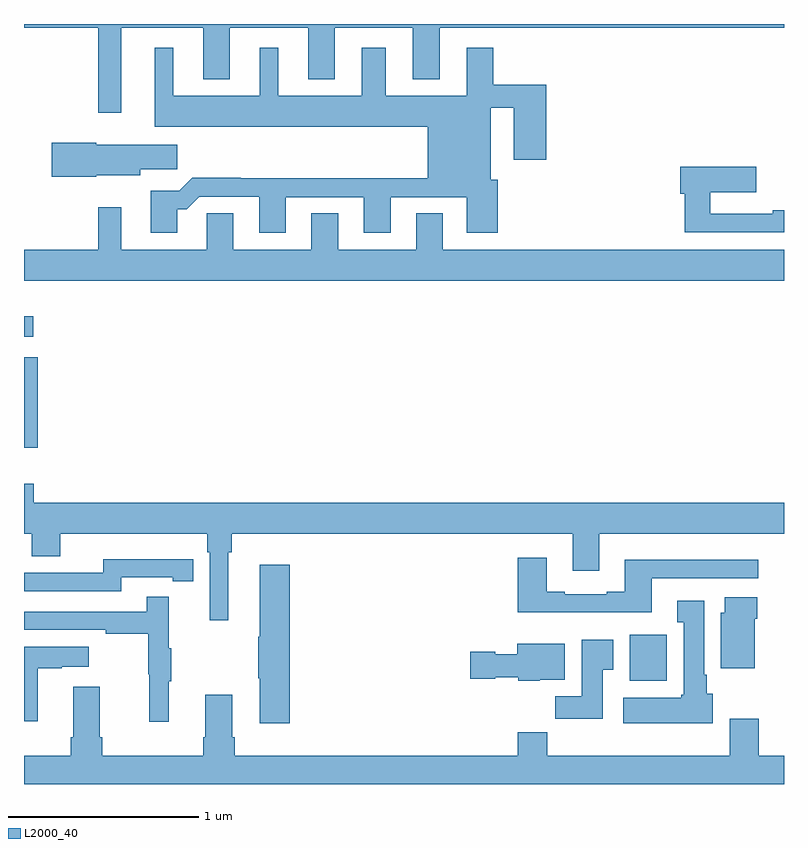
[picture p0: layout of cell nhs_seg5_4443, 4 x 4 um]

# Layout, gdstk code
import gdstk
lib = gdstk.Library(unit=1e-6, precision=1e-09)
def R(c, l, rs):  # rectangles x0, y0, x1, y1
    for r in rs: c.add(gdstk.rectangle(r[:2], r[2:], *l))
def P(c, l, *ps):  # polygons
    for p in ps: c.add(gdstk.Polygon(p, *l))
L2000_40 = (2000, 40)

nhs_seg5_4443 = lib.new_cell('nhs_seg5_4443')
R(nhs_seg5_4443, L2000_40, [(376.187,833.342,376.384,833.584), (373,834.57,373.072,835.045), (373,835.154,373.048,835.262)])
P(nhs_seg5_4443, L2000_40, [(373.513,836.78),(373.943,836.78),(373.943,836.507),(374.083,836.507),(374.083,836.78),(374.495,836.78),(374.495,836.507),(374.635,836.507),(374.635,836.78),(375.047,836.78),(375.047,836.507),(375.187,836.507),(375.187,836.78),(377,836.78),(377,836.799),(373,836.799),(373,836.78),(373.392,836.78),(373.392,836.331),(373.513,836.331)],
  [(373.807,835.823),(373.856,835.823),(373.923,835.89),(374.237,835.89),(374.237,835.701),(374.377,835.701),(374.377,835.887),(374.789,835.887),(374.789,835.701),(374.929,835.701),(374.929,835.887),(375.329,835.887),(375.329,835.701),(375.494,835.701),(375.494,835.98),(375.457,835.98),(375.457,836.358),(375.578,836.358),(375.578,836.085),(375.749,836.085),(375.749,836.479),(375.47,836.479),(375.47,836.674),(375.329,836.674),(375.329,836.422),(374.905,836.422),(374.905,836.674),(374.777,836.674),(374.777,836.422),(374.338,836.422),(374.338,836.674),(374.24,836.674),(374.24,836.422),(373.786,836.422),(373.786,836.674),(373.688,836.674),(373.688,836.258),(375.125,836.258),(375.125,835.988),(374.141,835.988),(374.141,835.991),(373.886,835.991),(373.816,835.921),(373.667,835.921),(373.667,835.701),(373.807,835.701)],
  [(373.38,836.003),(373.612,836.003),(373.612,836.035),(373.807,836.035),(373.807,836.164),(373.38,836.164),(373.38,836.174),(373.146,836.174),(373.146,835.996),(373.38,835.996)],
  [(377,835.82),(376.942,835.82),(376.942,835.8),(376.613,835.8),(376.613,835.913),(376.855,835.913),(376.855,836.048),(376.454,836.048),(376.454,835.906),(376.477,835.906),(376.477,835.704),(377,835.704)],
  [(377,835.612),(375.205,835.612),(375.205,835.802),(375.065,835.802),(375.065,835.612),(374.653,835.612),(374.653,835.802),(374.513,835.802),(374.513,835.612),(374.101,835.612),(374.101,835.802),(373.962,835.802),(373.962,835.612),(373.513,835.612),(373.513,835.834),(373.392,835.834),(373.392,835.612),(373,835.612),(373,835.448),(377,835.448)],
  [(374.074,834.02),(374.093,834.02),(374.093,834.116),(375.887,834.116),(375.887,833.922),(376.027,833.922),(376.027,834.116),(377,834.116),(377,834.28),(373.052,834.28),(373.052,834.379),(373,834.379),(373,834.116),(373.04,834.116),(373.04,833.999),(373.192,833.999),(373.192,834.116),(373.964,834.116),(373.964,834.02),(373.977,834.02),(373.977,833.661),(374.074,833.661)],
  [(376.303,833.883),(376.864,833.883),(376.864,833.98),(376.163,833.98),(376.163,833.812),(376.067,833.812),(376.067,833.799),(375.847,833.799),(375.847,833.812),(375.751,833.812),(375.751,833.989),(375.599,833.989),(375.599,833.702),(376.303,833.702)],
  [(373.512,833.886),(373.784,833.886),(373.784,833.866),(373.892,833.866),(373.892,833.982),(373.784,833.982),(373.784,833.983),(373.416,833.983),(373.416,833.91),(373,833.91),(373,833.814),(373.512,833.814)],
  [(374.399,833.953),(374.24,833.953),(374.24,833.573),(374.233,833.573),(374.233,833.356),(374.24,833.356),(374.24,833.118),(374.399,833.118)],
  [(373.763,833.339),(373.774,833.339),(373.774,833.513),(373.763,833.513),(373.763,833.785),(373.645,833.785),(373.645,833.706),(373,833.706),(373,833.61),(373.429,833.61),(373.429,833.59),(373.653,833.59),(373.653,833.376),(373.66,833.376),(373.66,833.127),(373.763,833.127)],
  [(376.846,833.669),(376.859,833.669),(376.859,833.782),(376.688,833.782),(376.688,833.7),(376.667,833.7),(376.667,833.408),(376.846,833.408)],
  [(376.624,833.274),(376.594,833.274),(376.594,833.374),(376.579,833.374),(376.579,833.764),(376.439,833.764),(376.439,833.651),(376.472,833.651),(376.472,833.268),(376.459,833.268),(376.459,833.254),(376.155,833.254),(376.155,833.12),(376.624,833.12)],
  [(376.045,833.401),(376.102,833.401),(376.102,833.557),(375.935,833.557),(375.935,833.26),(375.796,833.26),(375.796,833.142),(376.045,833.142)],
  [(375.714,833.348),(375.847,833.348),(375.847,833.536),(375.596,833.536),(375.596,833.482),(375.48,833.482),(375.48,833.495),(375.348,833.495),(375.348,833.353),(375.48,833.353),(375.48,833.36),(375.6,833.36),(375.6,833.342),(375.714,833.342)],
  [(373.072,833.407),(373.199,833.407),(373.199,833.417),(373.342,833.417),(373.342,833.521),(373,833.521),(373,833.13),(373.072,833.13)],
  [(377,832.948),(376.868,832.948),(376.868,833.143),(376.715,833.143),(376.715,832.948),(375.755,832.948),(375.755,833.072),(375.599,833.072),(375.599,832.948),(374.108,832.948),(374.108,833.044),(374.095,833.044),(374.095,833.269),(373.955,833.269),(373.955,833.044),(373.943,833.044),(373.943,832.948),(373.412,832.948),(373.412,833.044),(373.399,833.044),(373.399,833.311),(373.259,833.311),(373.259,833.044),(373.247,833.044),(373.247,832.948),(373,832.948),(373,832.799),(377,832.799)])

lib.write_gds('nhs_seg5_4443.gds')
